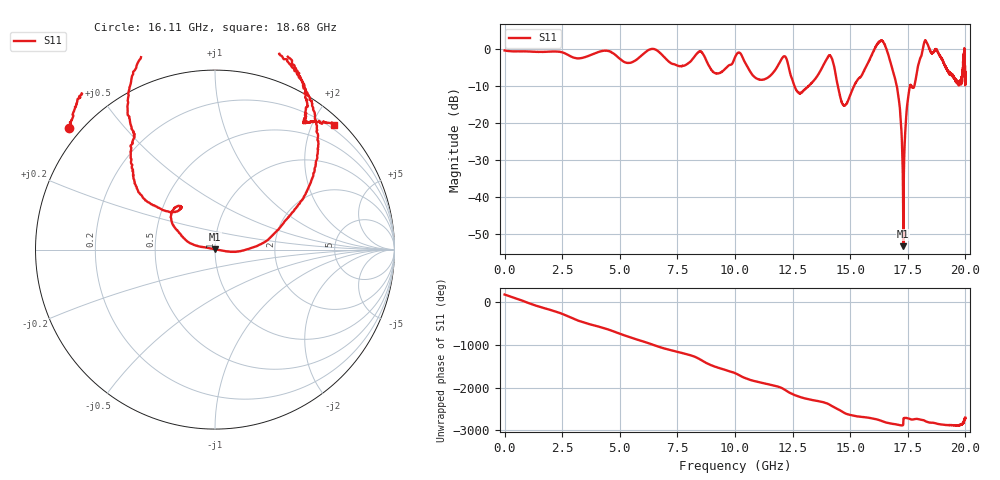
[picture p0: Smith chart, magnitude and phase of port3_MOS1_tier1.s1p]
! Created with skrf 1.8.0 (http://scikit-rf.org).
# GHz S RI R 50.0
!freq ReS11 ImS11
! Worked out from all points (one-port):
!   10001 points, 1 MHz to 20 GHz, reference 50 ohm
!   lowest |S11| = -53.3 dB at 17.31 GHz (marker M1), VSWR 1.00, Z = 50 + j0.217 ohm
!   |S11| at or under -10 dB: 12.58 GHz to 13.21 GHz (632.7 MHz wide, 4.91 % of centre); 14.46 GHz to 15.17 GHz (711.4 MHz wide, 4.8 % of centre); 17.02 GHz to 17.6 GHz (581.8 MHz wide, 3.36 % of centre) (the widest 3 of 5)
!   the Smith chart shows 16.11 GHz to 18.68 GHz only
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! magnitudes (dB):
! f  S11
! 1 MHz  -0.5
! 2.501 GHz  -1.0
! 5.001 GHz  -2.8
! 5.493 GHz  -3.8
! 6.451 GHz  -0.1
! 7.501 GHz  -4.6
! 8.499 GHz  -0.8
! 9.261 GHz  -6.7
! 10 GHz  -2.4
! 10.22 GHz  -1.2
! 11.16 GHz  -8.4
! 12.15 GHz  -2.1
! 12.5 GHz  -8.6
! 12.89 GHz  -11.9
! 14.11 GHz  -1.8
! 14.66 GHz  -14.9
! 15 GHz  -12.5
! 16.15 GHz  1.0
! 16.43 GHz  1.8
! 17.03 GHz  -10.4
! 17.14 GHz  -15.1
! 17.24 GHz  -23.8
! 17.31 GHz  -53.3
! 17.37 GHz  -24.4
! 17.5 GHz  -13.8
! 18.27 GHz  2.1
! 19.65 GHz  -9.3
! 20 GHz  -9.5
